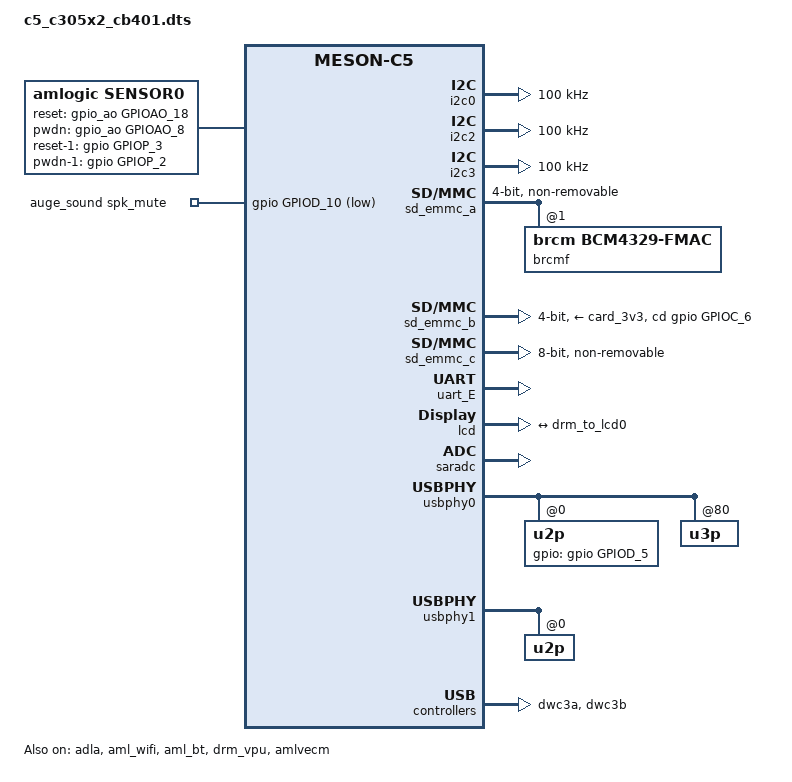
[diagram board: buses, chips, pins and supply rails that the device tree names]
// SPDX-License-Identifier: (GPL-2.0+ OR MIT)
/*
 * Copyright (c) 2019 Amlogic, Inc. All rights reserved.
 */

/dts-v1/;

#include "meson-c5.dtsi"
//#include "hdr10plus.dtsi"
#include "mesonc5_drm.dtsi"
#include "mesonc5_audio.dtsi"
//#include "firmware_ab.dtsi"
#include "meson-c5-panel.dtsi"

/ {
	amlogic-dt-id = "c5_c305x2_cb401";
	compatible = "c5_c305x2_cb401";
	interrupt-parent = <&gic>;
	#address-cells = <2>;
	#size-cells = <2>;

	aliases {
		serial0 = &uart_AO_B;
		serial1 = &uart_E;
		serial2 = &uart_B;
		serial3 = &uart_C;
		serial4 = &uart_D;
		serial5 = &uart_F;
		serial6 = &uart_AO_A;
		i2c0 = &i2c0;
		i2c1 = &i2c1;
		i2c2 = &i2c2;
		i2c3 = &i2c3;
		i2c4 = &i2c4;
		i2c5 = &i2c5;
		i2c6 = &i2c6;
		spi0 = &spifc;
		spi1 = &spisg_b;
		spi2 = &spisg_c;
		spi3 = &spisg_d;
		tsensor0 = &nna_tsensor;
		tsensor1 = &isp_tsensor;
		tsensor2 = &pll_tsensor;
	};

	chosen {
		linux,initrd-start = <0x0 0x0 0x0 0xc000000>;
		linux,initrd-end = <0x0  0x0 0x0  0xe000000>;
		bootargs = "console=ttyS0,921600 no_console_suspend earlycon=aml_uart,0xffa1e000
			initcall_debug loglevel=7
			connector0_type=MIPI-A lcd0=0x0,,mipi_0 outputmode=1024x600p60hz,enabled
			lcd_debug=0x1";
	};

	memory@0 {
		device_type = "memory";
		linux,usable-memory = <0x0 0x0 0x0 0x80000000>;
	};

	reserved-memory {
		#address-cells = <2>;
		#size-cells = <2>;
		ranges;

		ramdump_bl33z {
			compatible = "shared-dma-pool";
			size = <0x0 0x01800000>;
			alignment = <0x0 0x400000>;
			alloc-ranges = <0x0 0x05000000 0x0 0x07000000>;
			linux,contiguous-region;
			no-map;
			status = "disabled";
		};

		secmon_reserved:linux,secmon {
			compatible = "shared-dma-pool";
			no-map;
			alignment = <0x0 0x100000>;
			reg = <0x0 0x05000000 0x0 0x00b00000>;
		};
		nna_cma_reserved: linux,nna_cma {
			compatible = "shared-dma-pool";
			//alloc-ranges = <0x0  0x70000000 0x0 0x18000000>;
			size = <0x0 0x1000000>;
			alignment = <0x0 0x400000>;
			reusable;
			//no-map;
			status = "okay";
		};

		logo_reserved:linux,meson-fb {
			compatible = "amlogic, meson-fb";
			alignment = <0x0 0x400000>;
			reg = <0x0 0x7f800000 0x0 0x800000>;
			status = "disabled";
		};

		ion_cma_reserved:linux,ion-dev {
			compatible = "shared-dma-pool";
			reusable;
			size = <0x0 0x3000000>;
			alignment = <0x0 0x400000>;
			status = "okay";
		};

		rtos_reserved:linux,rtos_reserved {
			compatible = "amlogic, aml_rtos_memory";
			status = "disabled";
			reg = <0x0 0x4800000 0x0 0x200000>;
			no-map;
		};

		dsp_fw_reserved:linux,dsp_fw {
			compatible = "amlogic, dsp";
			size = <0x0 0x800000>;
			reg = <0x0 0x30000000 0x0 0x800000>;
			status = "disabled";
		};

		ramoops@8400000 {
			compatible = "ramoops";
			status = "oaky";
			reg = <0x0 0x08400000 0x0 0x00100000>;
			record-size = <0x20000>;
			console-size = <0x20000>;
			ftrace-size = <0x80000>;
			pmsg-size = <0x0>;
		};

		dmc_reserved:linux,dmc_monitor {
			compatible = "amlogic,dmc_monitor-reserved";
			reg = <0x0 0x0 0x0 0x0>;
			status = "disabled";
		};

		debug_reserved:linux,iotrace {
			compatible = "amlogic, iotrace";
			reg = <0x0 0x04f00000 0x0 0x00100000>;
			io-size = <0x1b000>;
			sched-size = <0x2000>;
			irq-size = <0x1000>;
			smc-size = <0x1000>;
			misc-size = <0x1000>;
			status = "disabled";
		};

		pmz_cma_a1_reserved:anonymous {
			compatible = "shared-dma-pool";
			//reusable;
			no-map;
			size = <0x0 0x4000000>;
			alignment = <0x0 0x400000>;
			status = "okay";
		};

		pmz_cma_a2_reserved:user_pmz {
			compatible = "shared-dma-pool";
			//reusable;
			no-map;
			size = <0x0 0x1000000>;
			alignment = <0x0 0x400000>;
			status = "disabled";
		};

		codec_mm_cma:linux,codec_mm_cma {
			compatible = "shared-dma-pool";
			reusable;
			/* ion_codec_mm max can alloc size 80M*/
			size = <0x0 0xD000000>;
			alignment = <0x0 0x400000>;
			linux,contiguous-region;
		};
		/* codec shared reserved */
		codec_mm_reserved:linux,codec_mm_reserved {
			compatible = "amlogic, codec-mm-reserved";
			size = <0x0 0x0>;
			alignment = <0x0 0x100000>;
			//no-map;
			status = "disabled";
		};
		jpegenc_cma_reserved:linux,jpegenc_cma {
			compatible = "shared-dma-pool";
			reusable;
			size = <0x0 0x0>;
			alignment = <0x0 0x400000>;
			status = "disabled";
		};

		/* global autoconfigured region for contiguous allocations */
		linux,cma {
			compatible = "shared-dma-pool";
			reusable;
			size = <0x0 0x800000>;
			alignment = <0x0 0x400000>;
			linux,cma-default;
			status = "disabled";
		};
	};

	sensor0: sensor0 {
		compatible = "amlogic, sensor0";
		status = "okay";
		clocks = <&clkc CLKID_MCLK_0>, <&clkc CLKID_MCLK_1>;
		clock-names = "mclk", "mclk1";
		devices-type = <1>;
		reset-gpios = <&gpio_ao GPIOAO_18 GPIO_ACTIVE_HIGH>;
		pwdn-gpios = <&gpio_ao GPIOAO_8 GPIO_ACTIVE_HIGH>;
		reset-1-gpios = <&gpio GPIOP_3 GPIO_ACTIVE_HIGH>;
		pwdn-1-gpios = <&gpio GPIOP_2 GPIO_ACTIVE_HIGH>;
	};

	pmz_a1_dev {
		compatible = "amlogic, pmz_dev";
		memory-region = <&pmz_cma_a1_reserved>;
		pmz-allocator = "priv";
	};

/* Audio Related start */
	auge_sound {
		compatible = "amlogic, auge-sound-card";
		aml-audio-card,name = "AML-AUGESOUND";
		spk_mute-gpios = <&gpio GPIOD_10 GPIO_ACTIVE_LOW>;
		spk_mute_sleep_time = <800>;

		aml-audio-card,dai-link@0 {
			format = "dsp_b";
			mclk-fs = <512>;
			//continuous-clock;
			//bitclock-inversion;
			//frame-inversion;
			/* master mode */
			bitclock-master = <&tdma>;
			frame-master = <&tdma>;
			/* slave mode */
			/*
			 * bitclock-master = <&tdmacodec>;
			 * frame-master = <&tdmacodec>;
			 */
			/* suffix-name, sync with android audio hal used for */
			suffix-name = "alsaPORT-pcm";
			tdmacpu: cpu {
				sound-dai = <&tdma>;
				dai-tdm-slot-tx-mask =
							<1 1>;
				dai-tdm-slot-rx-mask =
							<1 1>;
				dai-tdm-slot-num = <2>;
				dai-tdm-slot-width = <16>;
				system-clock-frequency = <256000>;
			};
			tdmacodec: codec {
				sound-dai = <&dummy_codec>;
			};
		};

		aml-audio-card,dai-link@1 {
			format = "i2s";
			mclk-fs = <256>;
			continuous-clock;
			//bitclock-inversion;
			//frame-inversion;
			/* master mode */
			bitclock-master = <&tdmb>;
			frame-master = <&tdmb>;
			/* slave mode */
			//bitclock-master = <&tdmbcodec>;
			//frame-master = <&tdmbcodec>;
			/* suffix-name, sync with android audio hal used for */
			suffix-name = "alsaPORT-i2s";
			cpu {
				sound-dai = <&tdmb>;
				dai-tdm-slot-tx-mask = <1 1>;
				dai-tdm-slot-rx-mask = <1 1>;
				dai-tdm-slot-num = <2>;
				dai-tdm-slot-width = <32>;
				system-clock-frequency = <12288000>;
			};
			tdmbcodec: codec {
				sound-dai = <&acodec>;
			};
		};

		aml-audio-card,dai-link@2 {
			mclk-fs = <64>;
			/* suffix-name, sync with android audio hal used for */
			suffix-name = "alsaPORT-pdm-builtinmic";
			cpu {
				sound-dai = <&pdma>;
			};
			codec {
				sound-dai = <&dummy_codec>;
			};
		};

		aml-audio-card,dai-link@3 {
			mclk-fs = <256>;
			continuous-clock;
			suffix-name = "alsaPORT-loopback";
			cpu {
				sound-dai = <&loopbacka>;
				system-clock-frequency = <12288000>;
			};
			codec {
				sound-dai = <&dummy_codec>;
			};
		};
		//aml-audio-card,dai-link@4 {
		//	mclk-fs = <256>;
		//	suffix-name = "alsaPORT-Sed";
		//	cpu {
		//		sound-dai = <&sed>;
		//	};
		//	codec {
		//		sound-dai = <&dummy_codec>;
		//	};
		//};
	};
	/* Audio Related end */
	picdec {
		compatible = "amlogic, picdec";
		status = "disabled";
	};

	vdd_npu2_sram: pwm_h-regulator {
		compatible = "amlogic, pwm-regulator";
		vin-supply = <&vcc1v8>;
		pwms = <&pwm_h MESON_PWM_0 840 0>;//GPIOE_5
		regulator-name = "VDDNPU2_SRAM";
		regulator-min-microvolt = <660000>;
		regulator-max-microvolt = <860000>;
		regulator-always-on;
		max-duty-cycle = <840>;
		amlogic,vsel-step = <3>;
		amlogic,usleep-time = <200>;
		amlogic,udelay-time = <40 20>;//pwm 1nF
		/* Voltage Duty-Cycle */
		voltage-table = <860000 0>,
				<850000 5>,
				<840000 10>,
				<830000 15>,
				<820000 20>,
				<810000 25>,
				<800000 30>,
				<790000 35>,
				<780000 40>,
				<770000 45>,
				<760000 50>,
				<750000 55>,
				<740000 60>,
				<730000 65>,
				<720000 70>,
				<710000 75>,
				<700000 80>,
				<690000 85>,
				<680000 90>,
				<670000 95>,
				<660000 100>;
		status = "disable"; //VDDNPU2_SRAM hw link to VDD_NPU2
	};

	vdd_npu3_sram: pwm_j-regulator {
		compatible = "amlogic, pwm-regulator";
		vin-supply = <&vcc1v8>;
		pwms = <&pwm_j MESON_PWM_0 840 0>;//GPIOE_7
		regulator-name = "VDDNPU3_SRAM";
		regulator-min-microvolt = <660000>;
		regulator-max-microvolt = <860000>;
		regulator-always-on;
		max-duty-cycle = <840>;
		amlogic,vsel-step = <3>;
		amlogic,usleep-time = <200>;
		amlogic,udelay-time = <40 20>;//pwm 1nF
		/* Voltage Duty-Cycle */
		voltage-table = <860000 0>,
				<850000 5>,
				<840000 10>,
				<830000 15>,
				<820000 20>,
				<810000 25>,
				<800000 30>,
				<790000 35>,
				<780000 40>,
				<770000 45>,
				<760000 50>,
				<750000 55>,
				<740000 60>,
				<730000 65>,
				<720000 70>,
				<710000 75>,
				<700000 80>,
				<690000 85>,
				<680000 90>,
				<670000 95>,
				<660000 100>;
		status = "disable"; //VDDNPU3_SRAM hw link to VDD_NPU3
	};

	/* Audio Related end */
	/* to check
	 *wifivbat_power: regulator-wifivbat {
	 *	compatible = "regulator-fixed";
	 *	regulator-name = "WIFIVBAT_POWER";
	 *	vin-supply = <&vddao3v3_reg>;
	 *	regulator-min-microvolt = <3300000>;
	 *	regulator-max-microvolt = <3300000>;
	 *	gpio = <&gpio GPIOD_13 GPIO_ACTIVE_HIGH>;
	 *	enable-active-high;
	 *	regulator-boot-on;
	 *	regulator-always-on;
	 *};

	 *vddio_wf: regulator_wfio {
	 *	compatible = "regulator-fixed";
	 *	regulator-name = "VDDIO_WF";
	 *	vin-supply = <&vddao1v8_reg>;
	 *	regulator-min-microvolt = <1800000>;
	 *	regulator-max-microvolt = <1800000>;
	 *	regulator-boot-on;
	 *	regulator-always-on;
	 *};
	 */
};

/delete-node/ &CPU2;
/delete-node/ &CPU3;

&periphs_pinctrl {
	/* Audio Related start */
		tdmout_a: tdmout_a {
		mux { /* GPIOX_11, GPIOX_10, GPIOX_9 */
			groups = "tdm_a_sclk",
				"tdm_a_fs",
				"tdm_a_dout0";
			function = "tdm_a";
		};
	};

	tdmin_a: tdmin_a {
		mux { /* GPIOX_8 */
			groups = "tdm_a_din1";
			function = "tdm_a";
		};
	};

	tdmb_mclk: tdmb_mclk {
		mux {
			groups = "mclk_0";
			function = "mclk_0";
			drive-strength = <2>;
		};
	};

	tdmout_b: tdmout_b {
		mux { /* GPIOA_1, GPIOA_2, GPIOA_3 */
			groups = "tdm_b_sclk",
				"tdm_b_fs",
				"tdm_b_dout0";
			function = "tdm_b";
			drive-strength = <2>;
		};
	};

	tdmin_b:tdmin_b {
		mux { /* GPIOA_7 */
			groups = "tdm_b_din0";
			function = "tdm_b";
			drive-strength = <2>;
		};
	};

	spdifin: spdifin {
		mux {/* GPIOF_6 */
			groups = "spdif_in_f6";
			function = "spdif_in";
		};
	};
	/* Audio Related end */
};

&i2c0 {
	status = "okay";
	pinctrl-names = "default", "sleep";
	pinctrl-0 = <&i2c0_ao_pins1>;
	pinctrl-1 = <&i2c0_ao_pins1_sleep>;
	clock-frequency = <100000>; /* default 100k */
};

&i2c2 {
	status = "okay";
	pinctrl-names = "default", "sleep";
	pinctrl-0 = <&i2c2_ao_pins1>;
	pinctrl-1 = <&i2c2_ao_pins1_sleep>;
	clock-frequency = <100000>; /* default 100k */
};

&i2c3 {
	status = "okay";
	pinctrl-names = "default", "sleep";
	pinctrl-0 = <&i2c3_pins2>;
	pinctrl-1 = <&i2c3_pins2_sleep>;
	clock-frequency = <100000>; /* default 100k */
};

&adla {
	status = "okay";
	//memory-region = <&nna_cma_reserved>;
};

/* SDIO */
&sd_emmc_a {
	status = "okay";
	pinctrl-0 = <&sdio_pins>;
	pinctrl-1 = <&sdio_clk_gate_pins>;
	pinctrl-names = "default", "clk-gate";
	#address-cells = <1>;
	#size-cells = <0>;

	bus-width = <4>;
	cap-sd-highspeed;
	sd-uhs-sdr50;
	sd-uhs-sdr104;
	max-frequency = <200000000>;

	non-removable;
	disable-wp;

	//vmmc-supply = <&vddao_3v3>;
	//vqmmc-supply = <&vddio_ao1v8>;

	brcmf: wifi@1 {
		reg = <1>;
		compatible = "brcm,bcm4329-fmac";
	};
};

/* SD card */
&sd_emmc_b {
	status = "okay";
	pinctrl-0 = <&sdcard_pins>;
	pinctrl-1 = <&sdcard_clk_gate_pins>;
	pinctrl-2 = <&sd_1bit_pins>;
	pinctrl-names = "sd_default",
			"clk-gate",
			"sd_1bit_pins";
	bus-width = <4>;
	cap-sd-highspeed;
	sd-uhs-sdr104;
	max-frequency = <200000000>;
	disable-wp;

	cd-gpios = <&gpio GPIOC_6 GPIO_ACTIVE_HIGH>;
	vmmc-supply = <&card_3v3>;
	vqmmc-supply = <&vddio_c>;
};

&sd_emmc_c {
	status = "okay";
	pinctrl-0 = <&emmc_pins>, <&emmc_ds_pins>;
	pinctrl-1 = <&emmc_clk_gate_pins>;
	pinctrl-names = "default", "clk-gate";

	bus-width = <8>;
	cap-mmc-highspeed;
	//mmc-ddr-1_8v;
	mmc-hs200-1_8v;
	mmc-hs400-1_8v;
	mmc-hs400-enhanced-strobe;
	max-frequency = <200000000>;
	non-removable;
	disable-wp;

	//mmc-pwrseq = <&emmc_pwrseq>;
	//vmmc-supply = <&vddao_3v3>;
	//vqmmc-supply = <&vddao_1v8>;
};

&aml_wifi {
	status = "okay";
	interrupt-gpios = <&gpio_ao  GPIOAO_13  GPIO_ACTIVE_HIGH>;
	power_on-gpios = <&gpio_ao   GPIOAO_17  GPIO_ACTIVE_HIGH>;
};

&aml_bt {
	status = "okay";
};

&uart_E {
	status = "okay";
};

&mtd_nand {
	status = "disabled";
	#address-cells = <1>;
	#size-cells = <0>;

	pinctrl-names = "nand_norb_mod","nand_cs_only";
	pinctrl-0 = <&all_nand_pins>;
	pinctrl-1 = <&nand_cs_pins>;
	bl_mode = <1>;
	fip_copies = <4>;
	fip_size = <0x200000>;
	ship_bad_block = <1>;
	disa_irq_flag = <1>;
	nand@bootloader {
		reg = <0>;
		#address-cells = <1>;
		#size-cells = <1>;
		nand-ecc-maximize;
		partition@0 {
			label = "bootloader";
			reg = <0x0 0x00000000>;
		};
	};
	nand@normal {
		reg = <0>;
		#address-cells = <1>;
		#size-cells = <1>;
		nand-ecc-maximize;

		partition@0 {
			label = "tpl";
			reg = <0x0 0x00000000>;
		};
		partition@2 {
			label = "recovery";
			reg = <0x0 0x2000000>;
		};
		partition@3 {
			label = "boot";
			reg = <0x0 0x2000000>;
		};
		partition@4 {
			label = "system";
			reg = <0x0 0x13000000>;
		};
		partition@5 {
			label = "data";
			reg = <0x0 0xffffffff>;
		};
	};
};

&isp0 {
	assigned-clocks = <&clkc CLKID_MCLK_PLL>, <&clkc CLKID_MCLK_0_PRE>;
	assigned-clock-rates = <2376000000>, <74250000>;
};

&spifc {
	status = "disabled";
	pinctrl-names = "default";
	pinctrl-0 = <&spifc_pins>;
	spi-nand@0 {
		compatible = "spi-nand";
		status = "disabled";
		reg = <0>;
		spi-max-frequency = <83000000>;
		spi-tx-bus-width = <4>;
		spi-rx-bus-width = <4>;
		bl_mode = <2>; /* advance mode */
		fip_copies = <4>;
		partition = <&snand_partitions>;
		snand_partitions: snand_partitions{
			bootloader{
				offset=<0x0 0x0>;
				size=<0x0 0x0>;
			};
			bl2e{
				offset=<0x0 0x0>;
				size=<0x0 0x0>;
			};
			bl2x{
				offset=<0x0 0x0>;
				size=<0x0 0x0>;
			};
			ddrfip{
				offset=<0x0 0x0>;
				size=<0x0 0x0>;
			};
			devfip{
				offset=<0x0 0x0>;
				size=<0x0 0x0>;
			};
			logo{
				offset=<0x0 0x0>;
				size=<0x0 0x200000>;
			};
			recovery{
				offset=<0x0 0x0>;
				size=<0x0 0x1000000>;
			};
			boot{
				offset=<0x0 0x0>;
				size=<0x0 0x1000000>;
			};
			system{
				offset=<0x0 0x0>;
				size=<0x0 0x4000000>;
			};
			data{
				offset=<0xffffffff 0xffffffff>;
				size=<0x0 0x0>;
			};
		};
	};
};

&drm_vpu {
	status = "okay";
	logo_addr = "0x3f800000";
	connectors_dev: port@1 {
		drm_to_lcd0: endpoint@1 {
			reg = <1>;
			remote-endpoint = <&lcd0_to_drm>;
		};
	};
};

&lcd {
	ports {
		port {
			#address-cells = <1>;
			#size-cells = <0>;
			lcd0_to_drm: endpoint@0 {
				reg = <0>;
				remote-endpoint = <&drm_to_lcd0>;
			};
		};
	};
};

&ethmac {
	status = "disabled";
	pinctrl-0 = <&eth_pins>, <&eth_rgmii_pins>;
	pinctrl-names = "default";
	phy-mode = "rgmii";
	phy-handle = <&external_phy>;
	mc_val = <0x1621>;
	cali_val = <0x80000>;
	/* 1:inphy; 2:exphy; */
	internal_phy = <2>;
};

&saradc {
	status = "okay";
};

&freertos {
	status = "disabled";
};

&pwm_j {
	status = "disabled";
};

&pwm_h {
	status = "disabled";
};

&amlvecm {
	compatible = "amlogic, vecm-c5";
	dev_name = "aml_vecm";
	status = "okay";
	gamma_en = <0>;/*1:enable ;0:disable*/
	wb_en = <0>;/*1:enable ;0:disable*/
	vlock_en = <0>;/*1:enable;0:disable*/
};

&ir {
	status = "disabled";
	pinctrl-0 = <&remote_pins>;
	pinctrl-names = "default";
};

&usbphy0 {
		status = "okay";
		u2p@0 {
			status = "okay";
			gpio-vbus-power = "GPIOD_5";
			gpios = <&gpio GPIOD_5 GPIO_ACTIVE_HIGH>;
		};
		u3p@80 {
				status = "okay";
		};
};

&usbphy1 {
		status = "okay";
		u2p@0 {
				status = "okay";
		};
};

&dwc3otg1 {
		status = "disabled";
		dr_mode = "otg"; /*otg, host,peripheral */
		controller-type = <1>; /*3:otg, 1: host,2:peripheral */
};

&dwc3otg2 {
		status = "disabled";
		dr_mode = "otg"; /*otg, host,peripheral */
		controller-type = <1>; /*3:otg, 1: host,2:peripheral */
};

&dwc3a {
		status = "okay";
};

&dwc3b {
		status = "okay";
};

&spisg_b {
	status = "disabled";
	pinctrl-names = "default";
	pinctrl-0 = <&spisg_b_pins_x>;
};
